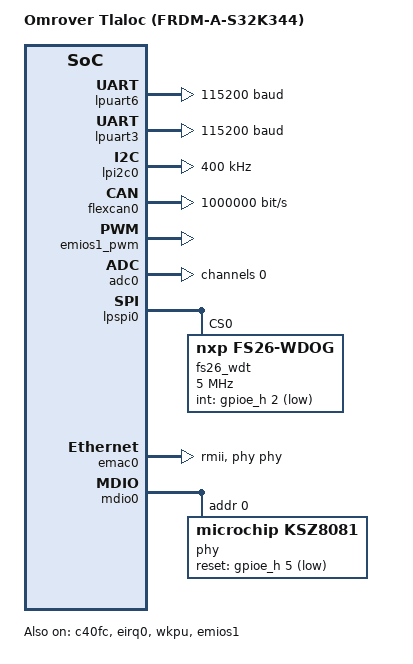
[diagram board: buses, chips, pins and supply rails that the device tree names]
/*
 * Tlaloc: FRDM-A-S32K344 como controlador de bajo nivel del Mobile Manipulator.
 * Derivada de boards/nxp/mr_canhubk3 (mismo SoC y encapsulado) con el ruteo
 * del robot. Ver tlaloc-pinctrl.dtsi para el origen de cada pin.
 *
 * SPDX-License-Identifier: Apache-2.0
 */

/dts-v1/;
#include <arm/nxp/s32/nxp_s32k344_m7.dtsi>
#include <zephyr/dt-bindings/gpio/gpio.h>
#include <zephyr/dt-bindings/gpio/nxp-siul2-gpio.h>
#include <zephyr/dt-bindings/adc/adc.h>
#include <freq.h>
#include "tlaloc-pinctrl.dtsi"

/ {
	model = "Omrover Tlaloc (FRDM-A-S32K344)";
	compatible = "nxp,frdm-a-s32k344";

	chosen {
		zephyr,sram = &sram0_1;
		zephyr,flash = &flash0;
		zephyr,itcm = &itcm;
		zephyr,dtcm = &dtcm;
		zephyr,code-partition = &code_partition;
		zephyr,console = &lpuart6;
		zephyr,shell-uart = &lpuart6;
		zephyr,flash-controller = &c40fc;
		zephyr,canbus = &flexcan0;
	};

	aliases {
		roboclaw-uart = &lpuart3;
		imu-i2c = &lpi2c0;
		watchdog0 = &fs26_wdt;
	};
};

/* VERIFICAR: igual que la MR-CANHUBK3 (V15 del MCU desde el FS26). */
&pmc {
	lm-reg;
};

&c40fc {
	status = "okay";
};

&flash0 {
	status = "okay";

	partitions {
		ranges;
		#address-cells = <1>;
		#size-cells = <1>;

		ivt_header: partition@0 {
			compatible = "zephyr,mapped-partition";
			label = "ivt-header";
			reg = <0x00000000 0x100>;
		};

		code_partition: partition@100 {
			compatible = "zephyr,mapped-partition";
			label = "code-partition";
			reg = <0x00000100 (DT_SIZE_K(4048) - 0x100)>;
		};
	};
};

&gpioa_h {
	status = "okay";
};

&gpioe_h {
	status = "okay";
};

&eirq0 {
	pinctrl-0 = <&eirq0_default>;
	pinctrl-names = "default";
	status = "okay";
};

/* PTE18 (FS26 INTB) no tiene EIRQ: su interrupción entra por el WKPU. */
&wkpu {
	status = "okay";
};

&lpuart6 {
	pinctrl-0 = <&lpuart6_default>;
	pinctrl-names = "default";
	current-speed = <115200>;
	status = "okay";
};

&lpuart3 {
	pinctrl-0 = <&lpuart3_default>;
	pinctrl-names = "default";
	current-speed = <115200>;
	status = "okay";
};

/* BNO080 (0x4A con SA0 a GND). Comparte bus solo con lo que cuelgue de PTD13/14. */
&lpi2c0 {
	pinctrl-0 = <&lpi2c0_default>;
	pinctrl-names = "default";
	clock-frequency = <I2C_BITRATE_FAST>;
	status = "okay";
};

/* GIM6010-8 a 1 Mbit/s. EN/STB del TJA1043 no los maneja el MCU (el .mex de
 * la FRDM-A solo rutea TX/RX y el CAN ya funciona así). Si algún día no hay
 * tráfico, revisar que EN y STB_N estén en alto (modo normal). */
&flexcan0 {
	pinctrl-0 = <&flexcan0_default>;
	pinctrl-names = "default";
	bitrate = <1000000>;
	status = "okay";
};

/*
 * Servo del gripper a 50 Hz. Reloj eMIOS 160 MHz / 32 (global) / 2 (bus A) =
 * 2.5 MHz: 20 ms = 50000 cuentas (< 65535), resolución de 0.4 us en el pulso.
 */
&emios1 {
	clock-divider = <32>;
	status = "okay";

	master_bus {
		emios1_bus_a {
			mode = "MCB_UP_COUNTER";
			prescaler = <2>;
			status = "okay";
		};
	};

	emios1_pwm: pwm {
		pinctrl-0 = <&emios1_default>;
		pinctrl-names = "default";
		status = "okay";

		gripper_servo: gripper_servo {
			channel = <10>;
			master-bus = <&emios1_bus_a>;
			pwm-mode = "OPWMB";
		};
	};
};

/*
 * ACS712 en PTD1 = ADC0 canal de precisión 0. El driver de Zephyr convierte a
 * 14 bits (máxima del SAR) y promedia 4 muestras por hardware (oversampling 2).
 */
&adc0 {
	group-channel = "precision";
	callback-select = "normal-end-chain";
	status = "okay";
	#address-cells = <1>;
	#size-cells = <0>;

	channel@0 {
		reg = <0>;
		zephyr,gain = "ADC_GAIN_1";
		zephyr,reference = "ADC_REF_INTERNAL";
		zephyr,vref-mv = <3300>;
		zephyr,acquisition-time = <ADC_ACQ_TIME_DEFAULT>;
		zephyr,resolution = <14>;
		zephyr,oversampling = <2>;
	};
};

/*
 * FS26 (PFS2613, ASIL B -> watchdog "simple"; VERIFICAR la variante OTP si el
 * driver reporta error de token). En modo normal el driver cierra INIT_FS en su
 * init con el watchdog deshabilitado; main.c lo habilita y lo alimenta.
 */
&lpspi0 {
	pinctrl-0 = <&lpspi0_default>;
	pinctrl-names = "default";
	status = "okay";

	fs26_wdt: watchdog@0 {
		compatible = "nxp,fs26-wdog";
		reg = <0>;
		spi-max-frequency = <DT_FREQ_M(5)>;
		type = "simple";
		int-gpios = <&gpioe_h 2 (GPIO_ACTIVE_LOW | NXP_SIUL2_GPIO_INT_WKPU)>;
		status = "okay";
	};
};

/* Ethernet 100BASE-TX: KSZ8091RNA en RMII con oscilador de 50 MHz (Y4). */
&emac0 {
	pinctrl-0 = <&emac0_default>;
	pinctrl-names = "default";
	phy-connection-type = "rmii";
	local-mac-address = [02 04 9f 7a 1a 0c];
	phy-handle = <&phy>;
	status = "okay";
};

&mdio0 {
	pinctrl-0 = <&mdio0_default>;
	pinctrl-names = "default";
	status = "okay";

	/* Dirección por strap CRS_DV/PHYAD[1:0] del KSZ8091RNA: pull-down
	 * interno = 0 (el .mex no la fija). Si no hay enlace, probar reg = <3>.
	 * El driver KSZ8081 es compatible a nivel de registros con el KSZ8091RNA.
	 * ENET_RESET (PTE21, activo bajo) según el .mex. */
	phy: ethernet-phy@0 {
		compatible = "microchip,ksz8081";
		reg = <0>;
		microchip,interface-type = "rmii";
		reset-gpios = <&gpioe_h 5 GPIO_ACTIVE_LOW>;
		status = "okay";
	};
};

&edma0 {
	status = "okay";
};
